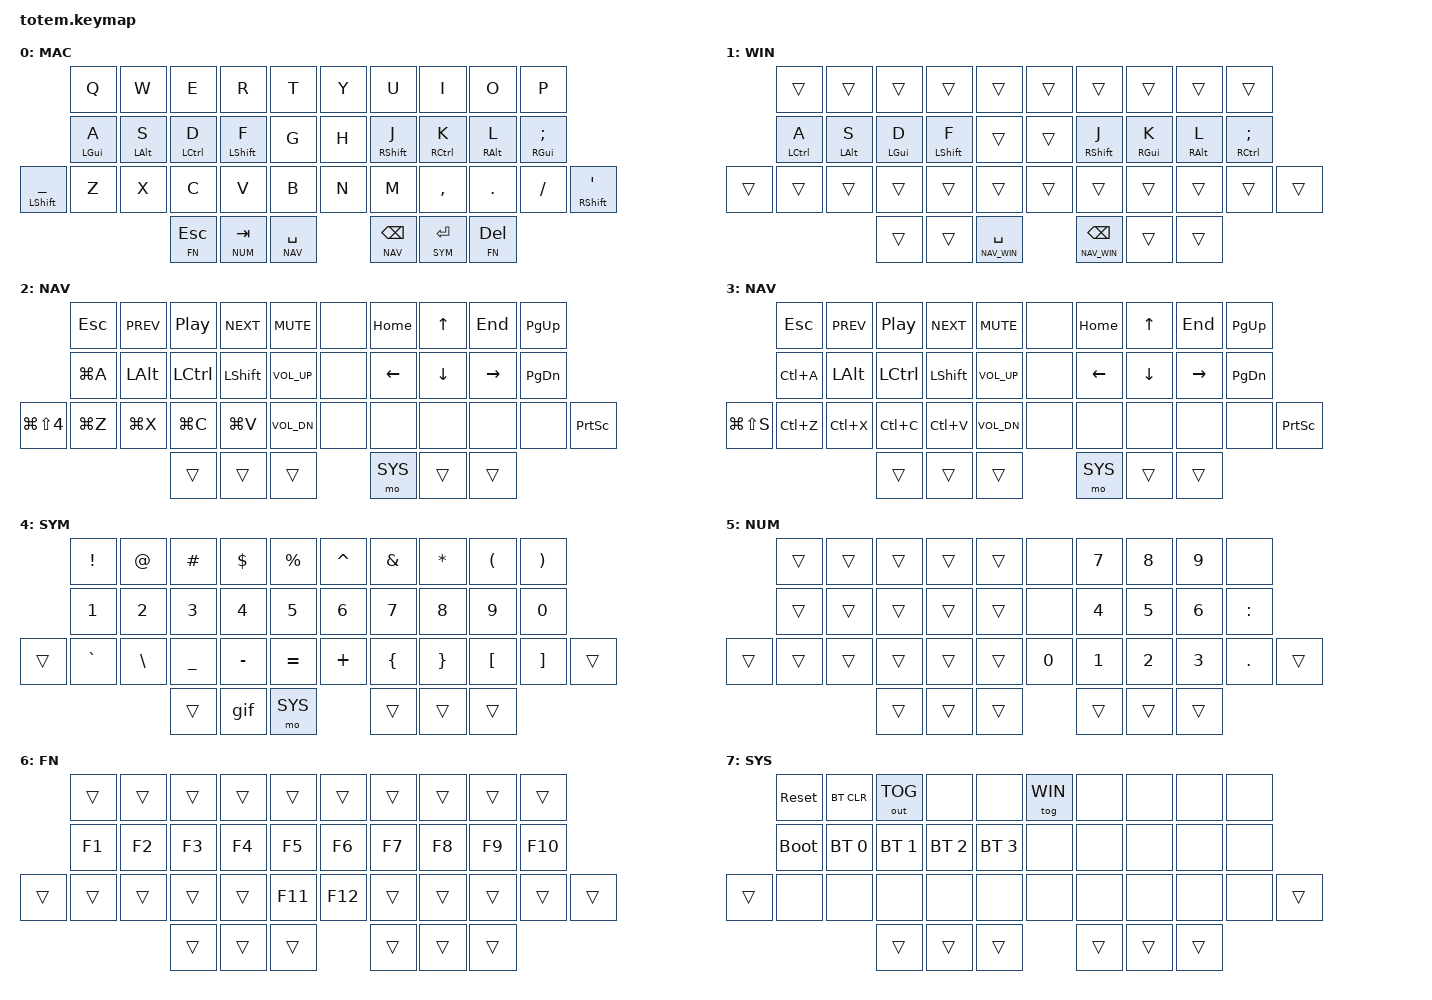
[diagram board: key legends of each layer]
#include <behaviors.dtsi>
#include <dt-bindings/zmk/bt.h>
#include <dt-bindings/zmk/keys.h>
#include <dt-bindings/zmk/outputs.h>

#define BASE    0
#define WIN     1
#define NAV     2
#define NAV_WIN 3
#define SYM     4
#define NUM     5
#define FN      6
#define SYS     7

// Key positions (TOTEM, 38 keys)
//
//        ╭─────────────────────┬─────────────────────╮
//        │  0   1   2   3   4  │  5   6   7   8   9  │
//        │ 10  11  12  13  14  │ 15  16  17  18  19  │
//    ╭───┤ 21  22  23  24  25  │ 26  27  28  29  30  ├───╮
//    │20 ╰────╮ 32  33  34     │    35  36  37  ╭────╯ 31│
//    ╰────────┴─────────────── ┴────────────────┴────────╯
#define KEYS_L  0  1  2  3  4 10 11 12 13 14 20 21 22 23 24 25
#define KEYS_R  5  6  7  8  9 15 16 17 18 19 26 27 28 29 30 31
#define THUMBS 32 33 34 35 36 37

&lt {
    quick-tap-ms = <175>;    // tap-then-hold repeats the tap key (hold BSPC to delete)
};

/ {
    behaviors {
        hml: homerow_mods_left {
            compatible = "zmk,behavior-hold-tap";
            #binding-cells = <2>;
            tapping-term-ms = <200>;
            quick-tap-ms = <175>;
            require-prior-idle-ms = <150>;
            flavor = "balanced";
            bindings = <&kp>, <&kp>;
            hold-trigger-key-positions = <KEYS_R THUMBS>;
            hold-trigger-on-release;
        };

        hmr: homerow_mods_right {
            compatible = "zmk,behavior-hold-tap";
            #binding-cells = <2>;
            tapping-term-ms = <200>;
            quick-tap-ms = <175>;
            require-prior-idle-ms = <150>;
            flavor = "balanced";
            bindings = <&kp>, <&kp>;
            hold-trigger-key-positions = <KEYS_L THUMBS>;
            hold-trigger-on-release;
        };

        ps: pinky_shift {
            // no positional filter: one-handed shifted presses must keep working
            compatible = "zmk,behavior-hold-tap";
            #binding-cells = <2>;
            tapping-term-ms = <200>;
            quick-tap-ms = <175>;
            require-prior-idle-ms = <150>;
            flavor = "balanced";
            bindings = <&kp>, <&kp>;
        };
    };

    combos {
        compatible = "zmk,combos";

        // Bracket system — top pair: ( ), home pair: [ ], bottom pair: { }
        // combo_esc has no idle guard on purpose: ESC right after typing must fire.

        combo_esc {
            timeout-ms = <50>;
            key-positions = <0 1>;
            bindings = <&kp ESC>;
        };

        combo_left_par {
            bindings = <&kp LEFT_PARENTHESIS>;
            key-positions = <3 2>;
            require-prior-idle-ms = <100>;
        };

        combo_right_par {
            bindings = <&kp RIGHT_PARENTHESIS>;
            key-positions = <6 7>;
            require-prior-idle-ms = <100>;
        };

        combo_left_bracket {
            bindings = <&kp LEFT_BRACKET>;
            key-positions = <12 13>;
            require-prior-idle-ms = <100>;
        };

        combo_right_bracket {
            bindings = <&kp RIGHT_BRACKET>;
            key-positions = <16 17>;
            require-prior-idle-ms = <100>;
        };

        combo_left_brace {
            bindings = <&kp LBRC>;
            key-positions = <23 24>;
            require-prior-idle-ms = <100>;
        };

        combo_right_brace {
            bindings = <&kp RBRC>;
            key-positions = <27 28>;
            require-prior-idle-ms = <100>;
        };

        combo_minus {
            // top-right corner, like the number row: ... 0 - =
            bindings = <&kp MINUS>;
            key-positions = <8 9>;
            require-prior-idle-ms = <100>;
        };

        combo_equal {
            bindings = <&kp EQUAL>;
            key-positions = <18 19>;
            require-prior-idle-ms = <100>;
        };

        combo_caps_word {
            // both "shift" home keys together = Caps Word
            bindings = <&caps_word>;
            key-positions = <13 16>;
            require-prior-idle-ms = <100>;
        };
    };

    macros {
        gif: gif {
            label = "giphy";
            compatible = "zmk,behavior-macro";
            #binding-cells = <0>;
            bindings =
                <&macro_press>,
                <&kp LSHFT>,
                <&macro_tap>,
                <&kp N2>,
                <&macro_release>,
                <&kp LSHFT>,
                <&macro_tap>,
                <&kp G &kp I &kp F>;
        };
    };

    keymap {
        compatible = "zmk,keymap";

        base_layer {
            display-name = "MAC";
            //
            //       |   Q   |   W   |   E   |   R   |   T   |   |   Y   |   U   |   I   |   O   |   P   |
            //       |-------+-------+-------+-------+-------|   |-------+-------+-------+-------+-------|
            //       | GUI A | ALT S | CTL D | SFT F |   G   |   |   H   | SFT J | CTL K | ALT L | GUI ; |
            // |-------+-------+-------+-------+-------+-------|   |-------+-------+-------+-------+-------+-------|
            // | SFT _ |   Z   |   X   |   C   |   V   |   B   |   |   N   |   M   |   ,   |   .   |   /   | SFT ' |
            // |-------+-------+-------+-------+-------+-------|   |-------+-------+-------+-------+-------+-------|
            //                         |FN ESC |NUM TAB|NAV SPC|   |NAV BSP|SYM RET|FN DEL |
            //                         |-------+-------+-------|   |-------+-------+-------|

            bindings = <
                &kp Q        &kp W        &kp E         &kp R         &kp T           &kp Y        &kp U         &kp I         &kp O        &kp P
                &hml LGUI A  &hml LALT S  &hml LCTRL D  &hml LSHFT F  &kp G           &kp H        &hmr RSHFT J  &hmr RCTRL K  &hmr RALT L  &hmr RGUI SEMI
&ps LSHFT UNDER  &kp Z        &kp X        &kp C         &kp V         &kp B           &kp N        &kp M         &kp COMMA     &kp DOT      &kp FSLH        &ps RSHFT SQT
                                           &lt FN ESC    &lt NUM TAB   &lt NAV SPACE   &lt NAV BSPC &lt SYM ENTER &lt FN DEL
            >;
        };

        win_layer {
            display-name = "WIN";
            //
            // Toggle overlay (SYS layer, Y key). GUI and CTRL swap places so the
            // pinky stays the primary-shortcut finger on both OSes. Space/BSPC
            // holds open NAV_WIN so the edit cluster sends Ctrl-based chords.
            //
            //       | trans | trans | trans | trans | trans |   | trans | trans | trans | trans | trans |
            //       |-------+-------+-------+-------+-------|   |-------+-------+-------+-------+-------|
            //       | CTL A | ALT S | GUI D | SFT F | trans |   | trans | SFT J | GUI K | ALT L | CTL ; |
            // |-------+-------+-------+-------+-------+-------|   |-------+-------+-------+-------+-------+-------|
            // | trans | trans | trans | trans | trans | trans |   | trans | trans | trans | trans | trans | trans |
            // |-------+-------+-------+-------+-------+-------|   |-------+-------+-------+-------+-------+-------|
            //                         | trans | trans |NAVwSPC|   |NAVwBSP| trans | trans |
            //                         |-------+-------+-------|   |-------+-------+-------|

            bindings = <
        &trans        &trans       &trans       &trans        &trans      &trans             &trans        &trans        &trans       &trans
        &hml LCTRL A  &hml LALT S  &hml LGUI D  &hml LSHFT F  &trans      &trans             &hmr RSHFT J  &hmr RGUI K   &hmr RALT L  &hmr RCTRL SEMI
&trans  &trans        &trans       &trans       &trans        &trans      &trans             &trans        &trans        &trans       &trans           &trans
                                   &trans       &trans        &lt NAV_WIN SPACE    &lt NAV_WIN BSPC  &trans  &trans
            >;
        };

        nav_layer {
            display-name = "NAV";
            //
            //       |  ESC  | PREV  | PLAY  | NEXT  | MUTE  |   | none  | HOME  |  UP   |  END  | PG UP |
            //       |-------+-------+-------+-------+-------|   |-------+-------+-------+-------+-------|
            //       |SEL ALL|  ALT  |  CTL  |  SFT  | VOL + |   | none  | LEFT  | DOWN  | RIGHT | PG DN |
            // |-------+-------+-------+-------+-------+-------|   |-------+-------+-------+-------+-------+-------|
            // | SHOT  | UNDO  |  CUT  | COPY  | PASTE | VOL - |   | none  | none  | none  | none  | none  | PSCRN |
            // |-------+-------+-------+-------+-------+-------|   |-------+-------+-------+-------+-------+-------|
            //                         | trans | trans | trans |   |  SYS  | trans | trans |
            //                         |-------+-------+-------|   |-------+-------+-------|
            // SHOT (outer left) = region screenshot: Cmd+Shift+4 here, Win+Shift+S on NAV_WIN

            bindings = <
        &kp ESC         &kp C_PREV  &kp C_PP   &kp C_NEXT  &kp K_MUTE      &none    &kp HOME  &kp UP    &kp END    &kp PG_UP
        &kp LG(A)       &kp LALT    &kp LCTRL  &kp LSHFT   &kp C_VOL_UP    &none    &kp LEFT  &kp DOWN  &kp RIGHT  &kp PG_DN
&kp LG(LS(N4))  &kp LG(Z)  &kp LG(X)   &kp LG(C)  &kp LG(V)   &kp C_VOL_DN    &none    &none     &none     &none      &none      &kp PSCRN
                               &trans     &trans      &trans          &mo SYS  &trans    &trans
            >;
        };

        nav_win_layer {
            display-name = "NAV";
            // Same as nav_layer; only the edit cluster and screenshot key differ.

            bindings = <
        &kp ESC        &kp C_PREV  &kp C_PP   &kp C_NEXT  &kp K_MUTE      &none    &kp HOME  &kp UP    &kp END    &kp PG_UP
        &kp LC(A)      &kp LALT    &kp LCTRL  &kp LSHFT   &kp C_VOL_UP    &none    &kp LEFT  &kp DOWN  &kp RIGHT  &kp PG_DN
&kp LG(LS(S))  &kp LC(Z)  &kp LC(X)   &kp LC(C)  &kp LC(V)   &kp C_VOL_DN    &none    &none     &none     &none      &none      &kp PSCRN
                               &trans     &trans      &trans          &mo SYS  &trans    &trans
            >;
        };

        sym_layer {
            display-name = "SYM";
            //
            //       |   !   |   @   |   #   |   $   |   %   |   |   ^   |   &   |   *   |   (   |   )   |
            //       |-------+-------+-------+-------+-------|   |-------+-------+-------+-------+-------|
            //       |   1   |   2   |   3   |   4   |   5   |   |   6   |   7   |   8   |   9   |   0   |
            // |-------+-------+-------+-------+-------+-------|   |-------+-------+-------+-------+-------+-------|
            // | trans |   `   |   \   |   _   |   -   |   =   |   |   +   |   {   |   }   |   [   |   ]   | trans |
            // |-------+-------+-------+-------+-------+-------|   |-------+-------+-------+-------+-------+-------|
            //                         | trans |  GIF  |  SYS  |   | trans | trans | trans |
            //                         |-------+-------+-------|   |-------+-------+-------|

            bindings = <
        &kp EXCL   &kp AT    &kp HASH   &kp DLLR   &kp PRCNT    &kp CARET  &kp AMPS  &kp STAR  &kp LPAR  &kp RPAR
        &kp N1     &kp N2    &kp N3     &kp N4     &kp N5       &kp N6     &kp N7    &kp N8    &kp N9    &kp N0
&trans  &kp GRAVE  &kp BSLH  &kp UNDER  &kp MINUS  &kp EQUAL    &kp PLUS   &kp LBRC  &kp RBRC  &kp LBKT  &kp RBKT  &trans
                             &trans     &gif       &mo SYS      &trans     &trans    &trans
            >;
        };

        num_layer {
            display-name = "NUM";
            //
            // Right-hand numpad (hold TAB). Left hand stays transparent so base
            // letters and home-row mods keep working (A-hold + digit = Cmd/Ctrl+digit).
            //
            //       | trans | trans | trans | trans | trans |   | none  |   7   |   8   |   9   | none  |
            //       |-------+-------+-------+-------+-------|   |-------+-------+-------+-------+-------|
            //       | trans | trans | trans | trans | trans |   | none  |   4   |   5   |   6   |   :   |
            // |-------+-------+-------+-------+-------+-------|   |-------+-------+-------+-------+-------+-------|
            // | trans | trans | trans | trans | trans | trans |   |   0   |   1   |   2   |   3   |   .   | trans |
            // |-------+-------+-------+-------+-------+-------|   |-------+-------+-------+-------+-------+-------|
            //                         | trans | trans | trans |   | trans | trans | trans |
            //                         |-------+-------+-------|   |-------+-------+-------|

            bindings = <
        &trans  &trans  &trans  &trans  &trans     &none   &kp N7  &kp N8  &kp N9  &none
        &trans  &trans  &trans  &trans  &trans     &none   &kp N4  &kp N5  &kp N6  &kp COLON
&trans  &trans  &trans  &trans  &trans  &trans     &kp N0  &kp N1  &kp N2  &kp N3  &kp DOT    &trans
                        &trans  &trans  &trans     &trans  &trans  &trans
            >;
        };

        fn_layer {
            display-name = "FN";
            //
            //       | trans | trans | trans | trans | trans |   | trans | trans | trans | trans | trans |
            //       |-------+-------+-------+-------+-------|   |-------+-------+-------+-------+-------|
            //       |  F1   |  F2   |  F3   |  F4   |  F5   |   |  F6   |  F7   |  F8   |  F9   |  F10  |
            // |-------+-------+-------+-------+-------+-------|   |-------+-------+-------+-------+-------+-------|
            // | trans | trans | trans | trans | trans |  F11  |   |  F12  | trans | trans | trans | trans | trans |
            // |-------+-------+-------+-------+-------+-------|   |-------+-------+-------+-------+-------+-------|
            //                         | trans | trans | trans |   | trans | trans | trans |
            //                         |-------+-------+-------|   |-------+-------+-------|

            bindings = <
        &trans  &trans  &trans  &trans  &trans     &trans   &trans  &trans  &trans  &trans
        &kp F1  &kp F2  &kp F3  &kp F4  &kp F5     &kp F6   &kp F7  &kp F8  &kp F9  &kp F10
&trans  &trans  &trans  &trans  &trans  &kp F11    &kp F12  &trans  &trans  &trans  &trans   &trans
                        &trans  &trans  &trans     &trans   &trans  &trans
            >;
        };

        sys_layer {
            display-name = "SYS";
            //
            // BT profiles select the DONGLE's host connections.
            // RESET/BOOT act on whichever half (or dongle) the key is pressed on.
            // WINTG toggles Windows mode (OLED layer name shows MAC/WIN).
            //
            //       | RESET | BTCLR | OUTTG | none  | none  |   | WINTG | none  | none  | none  | none  |
            //       |-------+-------+-------+-------+-------|   |-------+-------+-------+-------+-------|
            //       | BOOT  |  BT0  |  BT1  |  BT2  |  BT3  |   | none  | none  | none  | none  | none  |
            // |-------+-------+-------+-------+-------+-------|   |-------+-------+-------+-------+-------+-------|
            // | trans | none  | none  | none  | none  | none  |   | none  | none  | none  | none  | none  | trans |
            // |-------+-------+-------+-------+-------+-------|   |-------+-------+-------+-------+-------+-------|
            //                         | trans | trans | trans |   | trans | trans | trans |
            //                         |-------+-------+-------|   |-------+-------+-------|

            bindings = <
        &sys_reset   &bt BT_CLR    &out OUT_TOG  &none         &none           &tog WIN  &none  &none  &none  &none
        &bootloader  &bt BT_SEL 0  &bt BT_SEL 1  &bt BT_SEL 2  &bt BT_SEL 3    &none     &none  &none  &none  &none
&trans  &none        &none         &none         &none         &none           &none     &none  &none  &none  &none  &trans
                                   &trans        &trans        &trans          &trans    &trans &trans
            >;
        };
    };

    conditional_layers {
        compatible = "zmk,conditional-layers";

        activate_sys_mac {
            if-layers = <NAV FN>;
            then-layer = <SYS>;
        };

        activate_sys_win {
            if-layers = <NAV_WIN FN>;
            then-layer = <SYS>;
        };
    };
};
